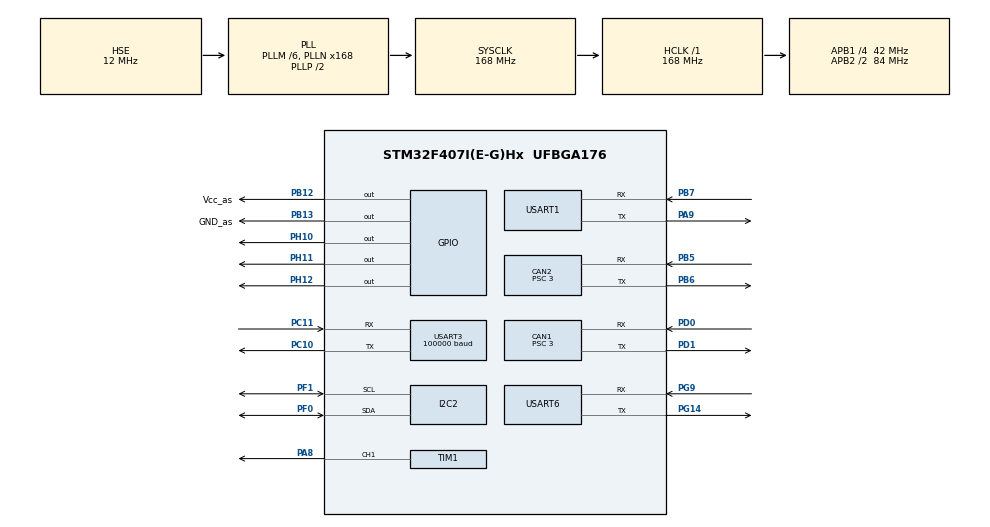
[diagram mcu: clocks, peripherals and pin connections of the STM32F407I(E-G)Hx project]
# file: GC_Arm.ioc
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CAN1.BS1=CAN_BS1_10TQ
CAN1.BS2=CAN_BS2_3TQ
CAN1.CalculateBaudRate=1000000
CAN1.CalculateTimeBit=1000
CAN1.CalculateTimeQuantum=71.42857142857143
CAN1.Prescaler=3
CAN2.BS1=CAN_BS1_10TQ
CAN2.BS2=CAN_BS2_3TQ
CAN2.CalculateBaudRate=1000000
CAN2.CalculateTimeBit=1000
CAN2.CalculateTimeQuantum=71.42857142857143
CAN2.Prescaler=3
Dma.Request0=USART1_RX
Dma.Request1=USART1_TX
Dma.Request2=USART3_RX
Dma.Request3=USART3_TX
Dma.Request4=USART6_RX
Dma.Request5=USART6_TX
Dma.USART1_RX.0.Direction=DMA_PERIPH_TO_MEMORY
Dma.USART1_RX.0.FIFOMode=DMA_FIFOMODE_DISABLE
Dma.USART1_RX.0.Instance=DMA2_Stream2
Dma.USART1_RX.0.MemDataAlignment=DMA_MDATAALIGN_BYTE
Dma.USART1_RX.0.MemInc=DMA_MINC_ENABLE
Dma.USART1_RX.0.Mode=DMA_NORMAL
Dma.USART1_RX.0.PeriphDataAlignment=DMA_PDATAALIGN_BYTE
Dma.USART1_RX.0.PeriphInc=DMA_PINC_DISABLE
Dma.USART1_RX.0.Priority=DMA_PRIORITY_LOW
Dma.USART1_TX.1.Direction=DMA_MEMORY_TO_PERIPH
Dma.USART1_TX.1.FIFOMode=DMA_FIFOMODE_DISABLE
Dma.USART1_TX.1.Instance=DMA2_Stream7
Dma.USART1_TX.1.MemDataAlignment=DMA_MDATAALIGN_BYTE
Dma.USART1_TX.1.MemInc=DMA_MINC_ENABLE
Dma.USART1_TX.1.Mode=DMA_NORMAL
Dma.USART1_TX.1.PeriphDataAlignment=DMA_PDATAALIGN_BYTE
Dma.USART1_TX.1.PeriphInc=DMA_PINC_DISABLE
Dma.USART1_TX.1.Priority=DMA_PRIORITY_LOW
Dma.USART3_RX.2.Direction=DMA_PERIPH_TO_MEMORY
Dma.USART3_RX.2.FIFOMode=DMA_FIFOMODE_DISABLE
Dma.USART3_RX.2.Instance=DMA1_Stream1
Dma.USART3_RX.2.MemDataAlignment=DMA_MDATAALIGN_BYTE
Dma.USART3_RX.2.MemInc=DMA_MINC_ENABLE
Dma.USART3_RX.2.Mode=DMA_NORMAL
Dma.USART3_RX.2.PeriphDataAlignment=DMA_PDATAALIGN_BYTE
Dma.USART3_RX.2.PeriphInc=DMA_PINC_DISABLE
Dma.USART3_RX.2.Priority=DMA_PRIORITY_VERY_HIGH
Dma.USART3_TX.3.Direction=DMA_MEMORY_TO_PERIPH
Dma.USART3_TX.3.FIFOMode=DMA_FIFOMODE_DISABLE
Dma.USART3_TX.3.Instance=DMA1_Stream3
Dma.USART3_TX.3.MemDataAlignment=DMA_MDATAALIGN_BYTE
Dma.USART3_TX.3.MemInc=DMA_MINC_ENABLE
Dma.USART3_TX.3.Mode=DMA_NORMAL
Dma.USART3_TX.3.PeriphDataAlignment=DMA_PDATAALIGN_BYTE
Dma.USART3_TX.3.PeriphInc=DMA_PINC_DISABLE
Dma.USART3_TX.3.Priority=DMA_PRIORITY_VERY_HIGH
Dma.USART6_RX.4.Direction=DMA_PERIPH_TO_MEMORY
Dma.USART6_RX.4.FIFOMode=DMA_FIFOMODE_DISABLE
Dma.USART6_RX.4.Instance=DMA2_Stream1
Dma.USART6_RX.4.MemDataAlignment=DMA_MDATAALIGN_BYTE
Dma.USART6_RX.4.MemInc=DMA_MINC_ENABLE
Dma.USART6_RX.4.Mode=DMA_NORMAL
Dma.USART6_RX.4.PeriphDataAlignment=DMA_PDATAALIGN_BYTE
Dma.USART6_RX.4.PeriphInc=DMA_PINC_DISABLE
Dma.USART6_RX.4.Priority=DMA_PRIORITY_LOW
Dma.USART6_TX.5.Direction=DMA_MEMORY_TO_PERIPH
Dma.USART6_TX.5.FIFOMode=DMA_FIFOMODE_DISABLE
Dma.USART6_TX.5.Instance=DMA2_Stream6
Dma.USART6_TX.5.MemDataAlignment=DMA_MDATAALIGN_BYTE
Dma.USART6_TX.5.MemInc=DMA_MINC_ENABLE
Dma.USART6_TX.5.Mode=DMA_NORMAL
Dma.USART6_TX.5.PeriphDataAlignment=DMA_PDATAALIGN_BYTE
Dma.USART6_TX.5.PeriphInc=DMA_PINC_DISABLE
Dma.USART6_TX.5.Priority=DMA_PRIORITY_LOW
FREERTOS.Tasks01=defaultTask,0,128,StartDefaultTask,Default,NULL,Dynamic,NULL,NULL;Arm_Task,0,128,StartTask02,Default,NULL,Dynamic,NULL,NULL;sucker_Task,0,128,StartTask03,Default,NULL,Dynamic,NULL,NULL;remote_task,0,128,StartTask04,Default,NULL,Dynamic,NULL,NULL
I2C2.I2C_Mode=I2C_Fast
Mcu.Family=STM32F4
Mcu.Name=STM32F407I(E-G)Hx
Mcu.Package=UFBGA176
NVIC.CAN1_RX0_IRQn=true\:5\:0\:false\:false\:true\:true\:true\:true\:true
NVIC.CAN1_TX_IRQn=true\:5\:0\:false\:false\:true\:true\:true\:true\:true
NVIC.CAN2_RX0_IRQn=true\:5\:0\:false\:false\:true\:true\:true\:true\:true
NVIC.CAN2_TX_IRQn=true\:5\:0\:false\:false\:true\:true\:true\:true\:true
NVIC.DMA1_Stream1_IRQn=true\:5\:0\:false\:false\:true\:true\:false\:true\:true
NVIC.DMA1_Stream3_IRQn=true\:5\:0\:false\:false\:true\:true\:false\:true\:true
NVIC.DMA2_Stream1_IRQn=true\:5\:0\:false\:false\:true\:true\:false\:true\:true
NVIC.DMA2_Stream2_IRQn=true\:5\:0\:false\:false\:true\:true\:false\:true\:true
NVIC.DMA2_Stream6_IRQn=true\:5\:0\:false\:false\:true\:true\:false\:true\:true
NVIC.DMA2_Stream7_IRQn=true\:5\:0\:false\:false\:true\:true\:false\:true\:true
NVIC.PriorityGroup=NVIC_PRIORITYGROUP_4
NVIC.TIM3_IRQn=true\:15\:0\:false\:false\:true\:false\:false\:true\:true
NVIC.TimeBase=TIM3_IRQn
NVIC.TimeBaseIP=TIM3
NVIC.USART1_IRQn=true\:5\:0\:false\:false\:true\:true\:true\:true\:true
NVIC.USART3_IRQn=true\:5\:0\:false\:false\:true\:true\:true\:true\:true
NVIC.USART6_IRQn=true\:5\:0\:false\:false\:true\:true\:true\:true\:true
PA13.Mode=Serial_Wire
PA13.Signal=SYS_JTMS-SWDIO
PA14.Mode=Serial_Wire
PA14.Signal=SYS_JTCK-SWCLK
PA8.Signal=S_TIM1_CH1
PA9.Mode=Asynchronous
PA9.Signal=USART1_TX
PB12.GPIO_Label=Vcc_as
PB12.PinState=GPIO_PIN_SET
PB12.Signal=GPIO_Output
PB13.GPIO_Label=GND_as
PB13.Signal=GPIO_Output
PB5.Mode=CAN_Activate
PB5.Signal=CAN2_RX
PB6.Mode=CAN_Activate
PB6.Signal=CAN2_TX
PB7.Mode=Asynchronous
PB7.Signal=USART1_RX
PC10.Mode=Asynchronous
PC10.Signal=USART3_TX
PC11.Mode=Asynchronous
PC11.Signal=USART3_RX
PD0.Mode=CAN_Activate
PD0.Signal=CAN1_RX
PD1.Mode=CAN_Activate
PD1.Signal=CAN1_TX
PF0.Mode=I2C
PF0.Signal=I2C2_SDA
PF1.Mode=I2C
PF1.Signal=I2C2_SCL
PG14.Mode=Asynchronous
PG14.Signal=USART6_TX
PG9.Mode=Asynchronous
PG9.Signal=USART6_RX
PH0-OSC_IN.Mode=HSE-External-Oscillator
PH0-OSC_IN.Signal=RCC_OSC_IN
PH1-OSC_OUT.Mode=HSE-External-Oscillator
PH1-OSC_OUT.Signal=RCC_OSC_OUT
PH10.Signal=GPIO_Output
PH11.Signal=GPIO_Output
PH12.Signal=GPIO_Output
ProjectManager.HeapSize=0x200
ProjectManager.StackSize=0x400
ProjectManager.TargetToolchain=MDK-ARM V5
RCC.48MHZClocksFreq_Value=84000000
RCC.AHBFreq_Value=168000000
RCC.APB1CLKDivider=RCC_HCLK_DIV4
RCC.APB1Freq_Value=42000000
RCC.APB1TimFreq_Value=84000000
RCC.APB2CLKDivider=RCC_HCLK_DIV2
RCC.APB2Freq_Value=84000000
RCC.APB2TimFreq_Value=168000000
RCC.CortexFreq_Value=168000000
RCC.HCLKFreq_Value=168000000
RCC.HSE_VALUE=12000000
RCC.HSI_VALUE=16000000
RCC.LSE_VALUE=32768
RCC.PLLM=6
RCC.PLLN=168
RCC.PLLSourceVirtual=RCC_PLLSOURCE_HSE
RCC.SYSCLKFreq_VALUE=168000000
RCC.SYSCLKSource=RCC_SYSCLKSOURCE_PLLCLK
RCC.VCOOutputFreq_Value=336000000
SH.S_TIM1_CH1.0=TIM1_CH1,PWM Generation1 CH1
TIM1.Channel-PWM\ Generation1\ CH1=TIM_CHANNEL_1
TIM1.Period=20000-1
TIM1.Prescaler=168-1
USART1.VirtualMode=VM_ASYNC
USART3.BaudRate=100000
USART3.Parity=PARITY_EVEN
USART3.VirtualMode=VM_ASYNC
USART6.VirtualMode=VM_ASYNC
VP_FREERTOS_VS_CMSIS_V1.Mode=CMSIS_V1
VP_SYS_VS_tim3.Mode=TIM3
board=custom

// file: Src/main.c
/* USER CODE BEGIN Header */
/**
  ******************************************************************************
  * @file           : main.c
  * @brief          : Main program body
  ******************************************************************************
  * @attention
  *
  * Copyright (c) 2023 STMicroelectronics.
  * All rights reserved.
  *
  * This software is licensed under terms that can be found in the LICENSE file
  * in the root directory of this software component.
  * If no LICENSE file comes with this software, it is provided AS-IS.
  *
  ******************************************************************************
  */
/* USER CODE END Header */
#include "main.h"
#include "cmsis_os.h"
#include "can.h"
#include "dma.h"
#include "i2c.h"
#include "tim.h"
#include "usart.h"
#include "gpio.h"

/* USER CODE BEGIN Includes */
#include "rc_potocal.h"
#include "drv_can.h"
#include "drv_usart.h"
#include "PID.h"
/* USER CODE END Includes */

void SystemClock_Config(void);
void MX_FREERTOS_Init(void);
/* USER CODE BEGIN PFP */

float target_speed[7];//实测最大空载转速320rpm
moto_info_t motor_info[MOTOR_MAX_NUM];		//赋予最大的7个字节
moto_info_t motor_info_can_2[MOTOR_MAX_NUM];		//赋予最大的7个字节
uint8_t Data_Enable[8]={0xFF, 0xFF, 0xFF, 0xFF, 0xFF, 0xFF, 0xFF, 0xFC};		//电机使能命令
pid_struct_t motor_pid[7];
pid_struct_t motor_pid_can_2[7];
uint8_t can_flag=0;
uint8_t remote_flag=0;
double step=9158/660;
double r;
double sin_sita;
double cos_sita;
double target_v;
int16_t target_int1;
int16_t target_int2;//用于叠加旋转和直行
double target_curl;
float yuntai_step=60*(1024-364);
/* USER CODE END PFP */

int main(void)
{

  /* MCU Configuration--------------------------------------------------------*/

  /* Reset of all peripherals, Initializes the Flash interface and the Systick. */
  HAL_Init();

  /* Configure the system clock */
  SystemClock_Config();

  /* Initialize all configured peripherals */
  MX_GPIO_Init();
  MX_DMA_Init();
  MX_CAN1_Init();
  MX_CAN2_Init();
  MX_USART1_UART_Init();
  MX_USART3_UART_Init();
  MX_USART6_UART_Init();
  MX_TIM1_Init();
  MX_I2C2_Init();
  /* USER CODE BEGIN 2 */
	HAL_NVIC_SetPriority(TIM2_IRQn, 0, 0);//修改TIM2中断优先级
  CAN1_Init();
  CAN2_Init();
  USART6_Init();
	USART3_Init();
	HAL_TIM_Base_Start_IT(&htim1);
  /* USER CODE END 2 */

  /* Call init function for freertos objects (in freertos.c) */
  MX_FREERTOS_Init();

  /* Start scheduler */
  osKernelStart();
  /* We should never get here as control is now taken by the scheduler */
  /* Infinite loop */
  while (1)
  {

  }
}

void SystemClock_Config(void)
{
  RCC_OscInitTypeDef RCC_OscInitStruct = {0};
  RCC_ClkInitTypeDef RCC_ClkInitStruct = {0};

  /** Configure the main internal regulator output voltage
  */
  __HAL_RCC_PWR_CLK_ENABLE();
  __HAL_PWR_VOLTAGESCALING_CONFIG(PWR_REGULATOR_VOLTAGE_SCALE1);

  /** Initializes the RCC Oscillators according to the specified parameters
  * in the RCC_OscInitTypeDef structure.
  */
  RCC_OscInitStruct.OscillatorType = RCC_OSCILLATORTYPE_HSE;
  RCC_OscInitStruct.HSEState = RCC_HSE_ON;
  RCC_OscInitStruct.PLL.PLLState = RCC_PLL_ON;
  RCC_OscInitStruct.PLL.PLLSource = RCC_PLLSOURCE_HSE;
  RCC_OscInitStruct.PLL.PLLM = 6;
  RCC_OscInitStruct.PLL.PLLN = 168;
  RCC_OscInitStruct.PLL.PLLP = RCC_PLLP_DIV2;
  RCC_OscInitStruct.PLL.PLLQ = 4;
  if (HAL_RCC_OscConfig(&RCC_OscInitStruct) != HAL_OK)
  {
    Error_Handler();
  }

  /** Initializes the CPU, AHB and APB buses clocks
  */
  RCC_ClkInitStruct.ClockType = RCC_CLOCKTYPE_HCLK|RCC_CLOCKTYPE_SYSCLK
                              |RCC_CLOCKTYPE_PCLK1|RCC_CLOCKTYPE_PCLK2;
  RCC_ClkInitStruct.SYSCLKSource = RCC_SYSCLKSOURCE_PLLCLK;
  RCC_ClkInitStruct.AHBCLKDivider = RCC_SYSCLK_DIV1;
  RCC_ClkInitStruct.APB1CLKDivider = RCC_HCLK_DIV4;
  RCC_ClkInitStruct.APB2CLKDivider = RCC_HCLK_DIV2;

  if (HAL_RCC_ClockConfig(&RCC_ClkInitStruct, FLASH_LATENCY_5) != HAL_OK)
  {
    Error_Handler();
  }
}

void HAL_TIM_PeriodElapsedCallback(TIM_HandleTypeDef *htim)
{
  if (htim->Instance == TIM3) {
    HAL_IncTick();
  }
}

void Error_Handler(void)
{
  __disable_irq();
  while (1)
  {
  }
}

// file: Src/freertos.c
/* USER CODE BEGIN Header */
/**
  ******************************************************************************
  * File Name          : freertos.c
  * Description        : Code for freertos applications
  ******************************************************************************
  * @attention
  *
  * Copyright (c) 2023 STMicroelectronics.
  * All rights reserved.
  *
  * This software is licensed under terms that can be found in the LICENSE file
  * in the root directory of this software component.
  * If no LICENSE file comes with this software, it is provided AS-IS.
  *
  ******************************************************************************
  */
/* USER CODE END Header */

#include "FreeRTOS.h"
#include "task.h"
#include "main.h"
#include "cmsis_os.h"

/* USER CODE BEGIN Includes */
#include "rc_potocal.h"
#include "PID.h"
#include "drv_as5600.h"
/* USER CODE END Includes */

/* USER CODE BEGIN Variables */
extern float angle;
/* USER CODE END Variables */
osThreadId defaultTaskHandle;
osThreadId Arm_TaskHandle;
osThreadId sucker_TaskHandle;
osThreadId remote_taskHandle;

void StartDefaultTask(void const * argument);
void StartTask02(void const * argument);
void StartTask03(void const * argument);
void StartTask04(void const * argument);

void MX_FREERTOS_Init(void); /* (MISRA C 2004 rule 8.1) */

/* GetIdleTaskMemory prototype (linked to static allocation support) */
void vApplicationGetIdleTaskMemory( StaticTask_t **ppxIdleTaskTCBBuffer, StackType_t **ppxIdleTaskStackBuffer, uint32_t *pulIdleTaskStackSize );

/* USER CODE BEGIN GET_IDLE_TASK_MEMORY */
static StaticTask_t xIdleTaskTCBBuffer;
static StackType_t xIdleStack[configMINIMAL_STACK_SIZE];

void vApplicationGetIdleTaskMemory( StaticTask_t **ppxIdleTaskTCBBuffer, StackType_t **ppxIdleTaskStackBuffer, uint32_t *pulIdleTaskStackSize )
{
  *ppxIdleTaskTCBBuffer = &xIdleTaskTCBBuffer;
  *ppxIdleTaskStackBuffer = &xIdleStack[0];
  *pulIdleTaskStackSize = configMINIMAL_STACK_SIZE;
  /* place for user code */
}
/* USER CODE END GET_IDLE_TASK_MEMORY */

void MX_FREERTOS_Init(void) {

  /* Create the thread(s) */
  /* definition and creation of defaultTask */
  osThreadDef(defaultTask, StartDefaultTask, osPriorityNormal, 0, 128);
  defaultTaskHandle = osThreadCreate(osThread(defaultTask), NULL);

  /* definition and creation of Arm_Task */
  osThreadDef(Arm_Task, StartTask02, osPriorityNormal, 0, 128);
  Arm_TaskHandle = osThreadCreate(osThread(Arm_Task), NULL);

  /* definition and creation of sucker_Task */
  osThreadDef(sucker_Task, StartTask03, osPriorityNormal, 0, 128);
  sucker_TaskHandle = osThreadCreate(osThread(sucker_Task), NULL);

  /* definition and creation of remote_task */
  osThreadDef(remote_task, StartTask04, osPriorityNormal, 0, 128);
  remote_taskHandle = osThreadCreate(osThread(remote_task), NULL);

}

void StartDefaultTask(void const * argument)
{
  /* USER CODE BEGIN StartDefaultTask */
  /* Infinite loop */
  for(;;)
  {
		angle=Programe_Run();
    osDelay(1);
  }
  /* USER CODE END StartDefaultTask */
}

// void StartTask02(void const * argument)
// {
//   /* USER CODE BEGIN StartTask02 */
// ////////  /* Infinite loop */
// ////////  for(;;)
// ////////  {
// ////////    osDelay(1);
// ////////  }
//   /* USER CODE END StartTask02 */
// }

void StartTask03(void const * argument)
{
  for(;;)
  {
    osDelay(1);
  }
}

void StartTask04(void const * argument)
{
  for(;;)
  {
    osDelay(1);
  }
}
